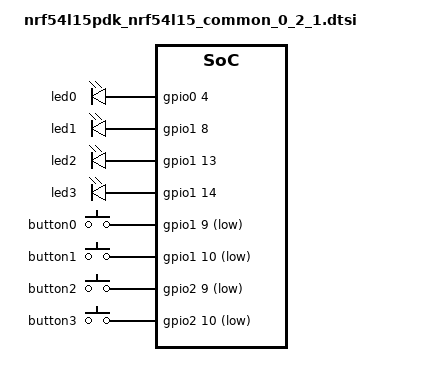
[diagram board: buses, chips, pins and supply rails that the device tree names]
/*
 * Copyright (c) 2024 Nordic Semiconductor ASA
 *
 * SPDX-License-Identifier: Apache-2.0
 */

&led0 {
	gpios = <&gpio0 4 GPIO_ACTIVE_HIGH>;
};

&led1 {
	gpios = <&gpio1 8 GPIO_ACTIVE_HIGH>;
};

&led2 {
	gpios = <&gpio1 13 GPIO_ACTIVE_HIGH>;
};

&led3 {
	gpios = <&gpio1 14 GPIO_ACTIVE_HIGH>;
};

&button0 {
	gpios = <&gpio1 9 (GPIO_PULL_UP | GPIO_ACTIVE_LOW)>;
};

&button1 {
	gpios = <&gpio1 10 (GPIO_PULL_UP | GPIO_ACTIVE_LOW)>;
};

&button2 {
	gpios = <&gpio2 9 (GPIO_PULL_UP | GPIO_ACTIVE_LOW)>;
};

&button3 {
	gpios = <&gpio2 10 (GPIO_PULL_UP | GPIO_ACTIVE_LOW)>;
};

&pinctrl {
	/omit-if-no-ref/ pwm20_default: pwm20_default {
		group1 {
			psels = <NRF_PSEL(PWM_OUT0, 1, 8)>;
		};
	};

	/omit-if-no-ref/ pwm20_sleep: pwm20_sleep {
		group1 {
			psels = <NRF_PSEL(PWM_OUT0, 1, 8)>;
			low-power-enable;
		};
	};
};
